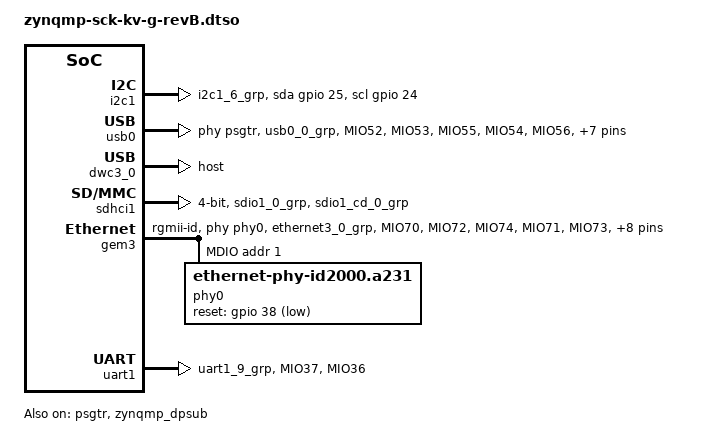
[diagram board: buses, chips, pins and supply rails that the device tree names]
// SPDX-License-Identifier: GPL-2.0
/*
 * dts file for KV260 revA Carrier Card
 *
 * (C) Copyright 2020 - 2022, Xilinx, Inc.
 * (C) Copyright 2022 - 2023, Advanced Micro Devices, Inc.
 *
 * Michal Simek <michal.simek@amd.com>
 */

#include <dt-bindings/gpio/gpio.h>
#include <dt-bindings/net/ti-dp83867.h>
#include <dt-bindings/phy/phy.h>
#include <dt-bindings/pinctrl/pinctrl-zynqmp.h>

/dts-v1/;
/plugin/;

&i2c1 { /* I2C_SCK C23/C24 - MIO from SOM */
	#address-cells = <1>;
	#size-cells = <0>;
	pinctrl-names = "default", "gpio";
	pinctrl-0 = <&pinctrl_i2c1_default>;
	pinctrl-1 = <&pinctrl_i2c1_gpio>;
	scl-gpios = <&gpio 24 (GPIO_ACTIVE_HIGH | GPIO_OPEN_DRAIN)>;
	sda-gpios = <&gpio 25 (GPIO_ACTIVE_HIGH | GPIO_OPEN_DRAIN)>;

	/* u14 - 0x40 - ina260 */
	/* u43 - 0x2d - usb5744 */
	/* u27 - 0xe0 - STDP4320 DP/HDMI splitter */
};

&amba {
	si5332_0: si5332_0 { /* u17 */
		compatible = "fixed-clock";
		#clock-cells = <0>;
		clock-frequency = <125000000>;
	};

	si5332_1: si5332_1 { /* u17 */
		compatible = "fixed-clock";
		#clock-cells = <0>;
		clock-frequency = <25000000>;
	};

	si5332_2: si5332_2 { /* u17 */
		compatible = "fixed-clock";
		#clock-cells = <0>;
		clock-frequency = <48000000>;
	};

	si5332_3: si5332_3 { /* u17 */
		compatible = "fixed-clock";
		#clock-cells = <0>;
		clock-frequency = <24000000>;
	};

	si5332_4: si5332_4 { /* u17 */
		compatible = "fixed-clock";
		#clock-cells = <0>;
		clock-frequency = <26000000>;
	};

	si5332_5: si5332_5 { /* u17 */
		compatible = "fixed-clock";
		#clock-cells = <0>;
		clock-frequency = <27000000>;
	};
};

/* DP/USB 3.0 */
&psgtr {
	status = "okay";
	/* pcie, usb3, sata */
	clocks = <&si5332_5>, <&si5332_4>, <&si5332_0>;
	clock-names = "ref0", "ref1", "ref2";
};

&zynqmp_dpsub {
	status = "okay";
	phy-names = "dp-phy0", "dp-phy1";
	phys = <&psgtr 1 PHY_TYPE_DP 0 0>, <&psgtr 0 PHY_TYPE_DP 1 0>;
	assigned-clock-rates = <27000000>, <25000000>, <300000000>;
};

&zynqmp_dpdma {
	status = "okay";
	assigned-clock-rates = <600000000>;
};

&usb0 {
	status = "okay";
	pinctrl-names = "default";
	pinctrl-0 = <&pinctrl_usb0_default>;
	phy-names = "usb3-phy";
	phys = <&psgtr 2 PHY_TYPE_USB3 0 1>;
};

&dwc3_0 {
	status = "okay";
	dr_mode = "host";
	snps,usb3_lpm_capable;
	maximum-speed = "super-speed";
};

&sdhci1 { /* on CC with tuned parameters */
	status = "okay";
	pinctrl-names = "default";
	pinctrl-0 = <&pinctrl_sdhci1_default>;
	/*
	 * SD 3.0 requires level shifter and this property
	 * should be removed if the board has level shifter and
	 * need to work in UHS mode
	 */
	no-1-8-v;
	disable-wp;
	xlnx,mio-bank = <1>;
	clk-phase-sd-hs = <126>, <60>;
	clk-phase-uhs-sdr25 = <120>, <60>;
	clk-phase-uhs-ddr50 = <126>, <48>;
	assigned-clock-rates = <187498123>;
	bus-width = <4>;
};

&gem3 { /* required by spec */
	status = "okay";
	pinctrl-names = "default";
	pinctrl-0 = <&pinctrl_gem3_default>;
	phy-handle = <&phy0>;
	phy-mode = "rgmii-id";

	mdio: mdio {
		#address-cells = <1>;
		#size-cells = <0>;

		phy0: ethernet-phy@1 {
			#phy-cells = <1>;
			reg = <1>;
			compatible = "ethernet-phy-id2000.a231";
			ti,rx-internal-delay = <DP83867_RGMIIDCTL_2_25_NS>;
			ti,tx-internal-delay = <DP83867_RGMIIDCTL_2_75_NS>;
			ti,fifo-depth = <DP83867_PHYCR_FIFO_DEPTH_4_B_NIB>;
			ti,dp83867-rxctrl-strap-quirk;
			reset-assert-us = <100>;
			reset-deassert-us = <280>;
			reset-gpios = <&gpio 38 GPIO_ACTIVE_LOW>;
		};
	};
};

&pinctrl0 { /* required by spec */
	status = "okay";

	pinctrl_uart1_default: uart1-default {
		conf {
			groups = "uart1_9_grp";
			slew-rate = <SLEW_RATE_SLOW>;
			power-source = <IO_STANDARD_LVCMOS18>;
			drive-strength = <12>;
		};

		conf-rx {
			pins = "MIO37";
			bias-high-impedance;
		};

		conf-tx {
			pins = "MIO36";
			bias-disable;
		};

		mux {
			groups = "uart1_9_grp";
			function = "uart1";
		};
	};

	pinctrl_i2c1_default: i2c1-default {
		conf {
			groups = "i2c1_6_grp";
			bias-pull-up;
			slew-rate = <SLEW_RATE_SLOW>;
			power-source = <IO_STANDARD_LVCMOS18>;
		};

		mux {
			groups = "i2c1_6_grp";
			function = "i2c1";
		};
	};

	pinctrl_i2c1_gpio: i2c1-gpio {
		conf {
			groups = "gpio0_24_grp", "gpio0_25_grp";
			slew-rate = <SLEW_RATE_SLOW>;
			power-source = <IO_STANDARD_LVCMOS18>;
		};

		mux {
			groups = "gpio0_24_grp", "gpio0_25_grp";
			function = "gpio0";
		};
	};

	pinctrl_gem3_default: gem3-default {
		conf {
			groups = "ethernet3_0_grp";
			slew-rate = <SLEW_RATE_SLOW>;
			power-source = <IO_STANDARD_LVCMOS18>;
		};

		conf-rx {
			pins = "MIO70", "MIO72", "MIO74";
			bias-high-impedance;
			low-power-disable;
		};

		conf-bootstrap {
			pins = "MIO71", "MIO73", "MIO75";
			bias-disable;
			low-power-disable;
		};

		conf-tx {
			pins = "MIO64", "MIO65", "MIO66",
				"MIO67", "MIO68", "MIO69";
			bias-disable;
			low-power-enable;
		};

		conf-mdio {
			groups = "mdio3_0_grp";
			slew-rate = <SLEW_RATE_SLOW>;
			power-source = <IO_STANDARD_LVCMOS18>;
			bias-disable;
		};

		mux-mdio {
			function = "mdio3";
			groups = "mdio3_0_grp";
		};

		mux {
			function = "ethernet3";
			groups = "ethernet3_0_grp";
		};
	};

	pinctrl_usb0_default: usb0-default {
		conf {
			groups = "usb0_0_grp";
			power-source = <IO_STANDARD_LVCMOS18>;
		};

		conf-rx {
			pins = "MIO52", "MIO53", "MIO55";
			bias-high-impedance;
			drive-strength = <12>;
			slew-rate = <SLEW_RATE_FAST>;
		};

		conf-tx {
			pins = "MIO54", "MIO56", "MIO57", "MIO58", "MIO59",
			"MIO60", "MIO61", "MIO62", "MIO63";
			bias-disable;
			drive-strength = <4>;
			slew-rate = <SLEW_RATE_SLOW>;
		};

		mux {
			groups = "usb0_0_grp";
			function = "usb0";
		};
	};

	pinctrl_sdhci1_default: sdhci1-default {
		conf {
			groups = "sdio1_0_grp";
			slew-rate = <SLEW_RATE_SLOW>;
			power-source = <IO_STANDARD_LVCMOS18>;
			bias-disable;
		};

		conf-cd {
			groups = "sdio1_cd_0_grp";
			bias-high-impedance;
			bias-pull-up;
			slew-rate = <SLEW_RATE_SLOW>;
			power-source = <IO_STANDARD_LVCMOS18>;
		};

		mux-cd {
			groups = "sdio1_cd_0_grp";
			function = "sdio1_cd";
		};

		mux {
			groups = "sdio1_0_grp";
			function = "sdio1";
		};
	};
};

&uart1 {
	status = "okay";
	pinctrl-names = "default";
	pinctrl-0 = <&pinctrl_uart1_default>;
};
